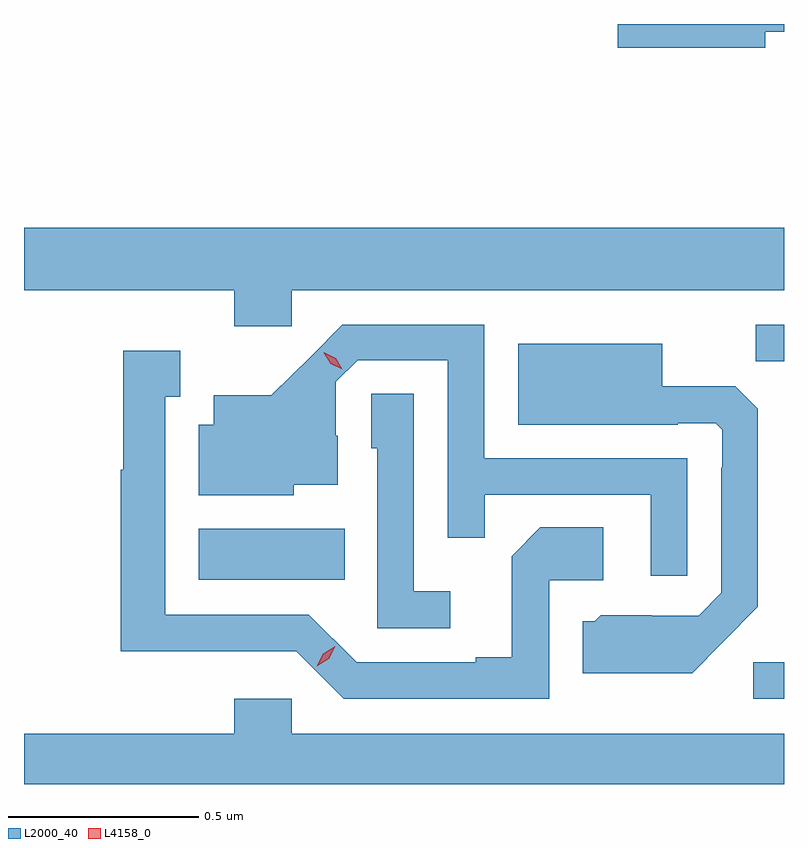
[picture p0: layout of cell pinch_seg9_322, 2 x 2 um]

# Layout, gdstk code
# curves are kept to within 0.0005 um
import gdstk
lib = gdstk.Library(unit=1e-6, precision=1e-09)
def R(c, l, rs):  # rectangles x0, y0, x1, y1
    for r in rs: c.add(gdstk.rectangle(r[:2], r[2:], *l))
def P(c, l, *ps):  # polygons
    for p in ps: c.add(gdstk.Polygon(p, *l))
L2000_40 = (2000, 40)
L4158_0 = (4158, 0)

pinch_seg9_322 = lib.new_cell('pinch_seg9_322')
R(pinch_seg9_322, L2000_40, [(610.803,1179.36,610.884,1179.456), (609.344,1179.674,609.728,1179.808), (610.81,1180.249,610.884,1180.344)])
P(pinch_seg9_322, L2000_40, [(610.834,1181.116),(610.884,1181.116),(610.884,1181.136),(610.446,1181.136),(610.446,1181.074),(610.834,1181.074)],
  [(609.588,1180.436),(610.884,1180.436),(610.884,1180.6),(608.884,1180.6),(608.884,1180.436),(609.437,1180.436),(609.437,1180.341),(609.588,1180.341)],
  [(610.629,1179.993),(610.095,1179.993),(610.095,1180.344),(609.722,1180.344),(609.535,1180.159),(609.383,1180.159),(609.383,1180.081),(609.344,1180.081),(609.344,1179.896),(609.594,1179.896),(609.594,1179.923),(609.709,1179.923),(609.709,1180.052),(609.705,1180.052),(609.705,1180.194),(609.762,1180.251),(609.999,1180.251),(609.999,1179.784),(610.097,1179.784),(610.097,1179.897),(610.533,1179.897),(610.533,1179.684),(610.629,1179.684)],
  [(610.723,1179.509),(610.815,1179.602),(610.815,1180.124),(610.756,1180.183),(610.564,1180.183),(610.564,1180.294),(610.184,1180.294),(610.184,1180.082),(610.604,1180.082),(610.604,1180.086),(610.704,1180.086),(610.722,1180.068),(610.722,1179.968),(610.719,1179.968),(610.719,1179.639),(610.659,1179.579),(610.536,1179.579),(610.536,1179.58),(610.402,1179.58),(610.386,1179.564),(610.355,1179.564),(610.355,1179.428),(610.643,1179.428)],
  [(610.266,1179.672),(610.408,1179.672),(610.408,1179.812),(610.243,1179.812),(610.167,1179.736),(610.167,1179.469),(610.073,1179.469),(610.073,1179.456),(609.759,1179.456),(609.633,1179.582),(609.256,1179.582),(609.256,1180.155),(609.295,1180.155),(609.295,1180.276),(609.145,1180.276),(609.145,1179.963),(609.138,1179.963),(609.138,1179.485),(609.378,1179.485),(609.378,1179.486),(609.6,1179.486),(609.726,1179.36),(610.266,1179.36)],
  [(610.006,1179.643),(609.909,1179.643),(609.909,1180.163),(609.798,1180.163),(609.798,1180.02),(609.813,1180.02),(609.813,1179.546),(610.006,1179.546)],
  [(610.884,1179.268),(609.588,1179.268),(609.588,1179.361),(609.437,1179.361),(609.437,1179.268),(608.884,1179.268),(608.884,1179.136),(610.884,1179.136)])
P(pinch_seg9_322, L4158_0, [(609.722,1180.228),(609.691,1180.242),(609.673,1180.271),(609.673,1180.272),(609.673,1180.272),(609.704,1180.257),(609.722,1180.228),(609.722,1180.228)],
  [(609.654,1179.446),(609.654,1179.446),(609.672,1179.479),(609.703,1179.498),(609.703,1179.498),(609.703,1179.498),(609.686,1179.465),(609.655,1179.446)])

lib.write_gds('pinch_seg9_322.gds')
